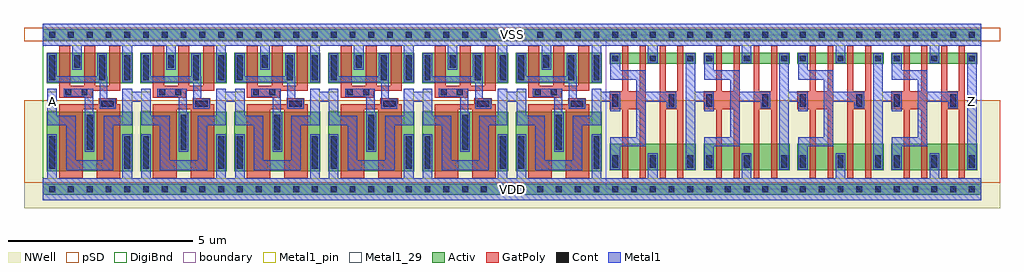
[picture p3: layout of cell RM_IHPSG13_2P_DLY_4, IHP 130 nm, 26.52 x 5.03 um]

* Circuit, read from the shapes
.subckt RM_IHPSG13_2P_DLY_4 A VDD VSS Z
XM1 VSS n1 n2 VSS sg13_lv_nmos w=0.83u l=0.3u m=3
XM2 VSS n3 n4 VSS sg13_lv_nmos w=0.83u l=0.3u m=3
XM3 VSS n5 n6 VSS sg13_lv_nmos w=0.83u l=0.3u m=3
XM4 VSS n7 n8 VSS sg13_lv_nmos w=0.83u l=0.3u m=3
XM5 VSS n9 n10 VSS sg13_lv_nmos w=0.83u l=0.3u m=3
XM6 VSS n11 n12 VSS sg13_lv_nmos w=0.83u l=0.3u m=3
XM7 n13 A n14 VSS sg13_lv_nmos w=0.3u l=0.16u
XM8 VSS A n13 VSS sg13_lv_nmos w=0.3u l=0.16u
XM9 n15 n14 VSS VSS sg13_lv_nmos w=0.3u l=0.16u
XM10 RSC_IHPSG13_CDLYX1_1/A n14 n15 VSS sg13_lv_nmos w=0.3u l=0.16u
XM11 n16 RSC_IHPSG13_CDLYX1_1/A n17 VSS sg13_lv_nmos w=0.3u l=0.16u
XM12 VSS RSC_IHPSG13_CDLYX1_1/A n16 VSS sg13_lv_nmos w=0.3u l=0.16u
XM13 n18 n17 VSS VSS sg13_lv_nmos w=0.3u l=0.16u
XM14 RSC_IHPSG13_CDLYX1_2/A n17 n18 VSS sg13_lv_nmos w=0.3u l=0.16u
XM15 n19 RSC_IHPSG13_CDLYX1_2/A n20 VSS sg13_lv_nmos w=0.3u l=0.16u
XM16 VSS RSC_IHPSG13_CDLYX1_2/A n19 VSS sg13_lv_nmos w=0.3u l=0.16u
XM17 n21 n20 VSS VSS sg13_lv_nmos w=0.3u l=0.16u
XM18 RSC_IHPSG13_CDLYX1_3/A n20 n21 VSS sg13_lv_nmos w=0.3u l=0.16u
XM19 n22 RSC_IHPSG13_CDLYX1_3/A n23 VSS sg13_lv_nmos w=0.3u l=0.16u
XM20 VSS RSC_IHPSG13_CDLYX1_3/A n22 VSS sg13_lv_nmos w=0.3u l=0.16u
XM21 n24 n23 VSS VSS sg13_lv_nmos w=0.3u l=0.16u
XM22 Z n23 n24 VSS sg13_lv_nmos w=0.3u l=0.16u
XM23 n1 n2 VDD VDD sg13_lv_pmos w=1.62u l=0.64u m=2
XM24 n3 n4 VDD VDD sg13_lv_pmos w=1.62u l=0.64u m=2
XM25 n5 n6 VDD VDD sg13_lv_pmos w=1.62u l=0.64u m=2
XM26 n7 n8 VDD VDD sg13_lv_pmos w=1.62u l=0.64u m=2
XM27 n9 n10 VDD VDD sg13_lv_pmos w=1.62u l=0.64u m=2
XM28 n11 n12 VDD VDD sg13_lv_pmos w=1.62u l=0.64u m=2
XM29 n25 A n14 VDD sg13_lv_pmos w=0.72u l=0.16u
XM30 VDD A n25 VDD sg13_lv_pmos w=0.72u l=0.16u
XM31 n26 n14 VDD VDD sg13_lv_pmos w=0.72u l=0.16u
XM32 RSC_IHPSG13_CDLYX1_1/A n14 n26 VDD sg13_lv_pmos w=0.72u l=0.16u
XM33 n27 RSC_IHPSG13_CDLYX1_1/A n17 VDD sg13_lv_pmos w=0.72u l=0.16u
XM34 VDD RSC_IHPSG13_CDLYX1_1/A n27 VDD sg13_lv_pmos w=0.72u l=0.16u
XM35 n28 n17 VDD VDD sg13_lv_pmos w=0.72u l=0.16u
XM36 RSC_IHPSG13_CDLYX1_2/A n17 n28 VDD sg13_lv_pmos w=0.72u l=0.16u
XM37 n29 RSC_IHPSG13_CDLYX1_2/A n20 VDD sg13_lv_pmos w=0.72u l=0.16u
XM38 VDD RSC_IHPSG13_CDLYX1_2/A n29 VDD sg13_lv_pmos w=0.72u l=0.16u
XM39 n30 n20 VDD VDD sg13_lv_pmos w=0.72u l=0.16u
XM40 RSC_IHPSG13_CDLYX1_3/A n20 n30 VDD sg13_lv_pmos w=0.72u l=0.16u
XM41 n31 RSC_IHPSG13_CDLYX1_3/A n23 VDD sg13_lv_pmos w=0.72u l=0.16u
XM42 VDD RSC_IHPSG13_CDLYX1_3/A n31 VDD sg13_lv_pmos w=0.72u l=0.16u
XM43 n32 n23 VDD VDD sg13_lv_pmos w=0.72u l=0.16u
XM44 Z n23 n32 VDD sg13_lv_pmos w=0.72u l=0.16u
.ends

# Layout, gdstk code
from math import pi, radians
import gdstk
lib = gdstk.Library(unit=1e-6, precision=1e-09)
def R(c, l, rs):  # rectangles x0, y0, x1, y1
    for r in rs: c.add(gdstk.rectangle(r[:2], r[2:], *l))
def A(c, l, x, y, w, h, nx, ny, dx, dy):  # array of equal rectangles
    R(c, l, [(x+i*dx, y+j*dy, x+i*dx+w, y+j*dy+h) for i in range(nx) for j in range(ny)])
def P(c, l, *ps):  # polygons
    for p in ps: c.add(gdstk.Polygon(p, *l))
Activ = (1, 0)
GatPoly = (5, 0)
Cont = (6, 0)
Metal1 = (8, 0)
Metal1_pin = (8, 2)
Metal1_29 = (8, 29)
pSD = (14, 0)
DigiBnd = (16, 0)
NWell = (31, 0)
boundary = (189, 4)

rsc_ihpsg13_cdlyx1 = lib.new_cell('RSC_IHPSG13_CDLYX1')
R(rsc_ihpsg13_cdlyx1, Activ, [(0,-0.15,2.55,0.15), (0.105,0.49,2.445,0.79), (0.105,2.97,2.445,3.69), (0,4.05,2.55,4.35)])
P(rsc_ihpsg13_cdlyx1, GatPoly, [(1.465,0.3),(1.465,3.9),(1.625,3.9),(1.625,2.025),(1.945,2.025),(1.945,3.9),(2.105,3.9),(2.105,0.3),(1.945,0.3),(1.945,1.545),(1.625,1.545),(1.625,0.3)],
  [(0.445,0.3),(0.445,1.545),(0.105,1.545),(0.105,2.025),(0.445,2.025),(0.445,3.9),(0.605,3.9),(0.605,2.025),(0.925,2.025),(0.925,3.9),(1.085,3.9),(1.085,0.3),(0.925,0.3),(0.925,1.545),(0.605,1.545),(0.605,0.3)])
A(rsc_ihpsg13_cdlyx1, Cont, 0.175, -0.08, 0.16, 0.16, 5, 2, 0.51, 4.2)
A(rsc_ihpsg13_cdlyx1, Cont, 0.175, 0.57, 0.16, 0.16, 3, 1, 1.02, 0)
A(rsc_ihpsg13_cdlyx1, Cont, 0.175, 3.28, 0.16, 0.34, 3, 1, 1.02, 0)
R(rsc_ihpsg13_cdlyx1, Cont, [(0.175,1.615,0.335,1.955), (1.705,1.615,1.865,1.955)])
R(rsc_ihpsg13_cdlyx1, Metal1, [(0,-0.3,2.55,0.3), (1.145,0.3,1.405,0.78), (2.165,0.51,2.425,3.67), (0.125,1.56,0.385,2.09)])
P(rsc_ihpsg13_cdlyx1, Metal1, [(0.125,0.51),(0.125,1.23),(0.825,1.23),(0.825,2.79),(0.125,2.79),(0.125,3.67),(0.385,3.67),(0.385,3.04),(1.085,3.04),(1.085,1.82),(1.655,1.82),(1.655,2.005),(1.915,2.005),(1.915,1.56),(1.085,1.56),(1.085,0.97),(0.385,0.97),(0.385,0.51)],
  [(1.145,3.23),(1.145,3.9),(0,3.9),(0,4.5),(2.55,4.5),(2.55,3.9),(1.405,3.9),(1.405,3.23)])
R(rsc_ihpsg13_cdlyx1, Metal1_pin, [(0,-0.3,2.55,0.3), (2.165,0.51,2.425,3.67), (0.125,1.56,0.385,2.09), (0,3.9,2.55,4.5)])
R(rsc_ihpsg13_cdlyx1, pSD, [(-0.51,-0.18,3.06,0.18), (-0.51,1.785,3.06,4.02)])
R(rsc_ihpsg13_cdlyx1, DigiBnd, [(0,-0.3,2.55,4.5)])
R(rsc_ihpsg13_cdlyx1, NWell, [(-0.51,1.785,3.06,4.725)])
R(rsc_ihpsg13_cdlyx1, boundary, [(0,0,2.55,4.2)])
rsc_ihpsg13_cdlyx1.add(gdstk.Label('VDD!', (0.51,4.2), layer=8, texttype=25))
rsc_ihpsg13_cdlyx1.add(gdstk.Label('A', (0.265,1.785), layer=8, texttype=25))
rsc_ihpsg13_cdlyx1.add(gdstk.Label('VSS!', (0.465,0), layer=8, texttype=25))
rsc_ihpsg13_cdlyx1.add(gdstk.Label('Z', (2.3,1.755), layer=8, texttype=25))

lvsres_db_0x04007e9a = lib.new_cell('lvsres_db_0x04007e9a')
R(lvsres_db_0x04007e9a, Metal1, [(-0.5,0,0.5,0.26)])
R(lvsres_db_0x04007e9a, Metal1_pin, [(-0.5,0,-0.3,0.26), (0.3,0,0.5,0.26)])
R(lvsres_db_0x04007e9a, Metal1_29, [(-0.3,0,0.3,0.26)])
lvsres_db_0x04007e9a.add(gdstk.Label('MINUS', (0.4,0.13), layer=63, texttype=0))
lvsres_db_0x04007e9a.add(gdstk.Label('PLUS', (-0.4,0.13), layer=63, texttype=0))

rsc_ihpsg13_cdlyx1_dummy = lib.new_cell('RSC_IHPSG13_CDLYX1_DUMMY')
R(rsc_ihpsg13_cdlyx1_dummy, Activ, [(0,-0.15,2.55,0.15), (0.105,0.49,2.445,1.32), (0.105,2.1,2.445,3.72), (0,4.05,2.55,4.35)])
P(rsc_ihpsg13_cdlyx1_dummy, GatPoly, [(0.445,0.3),(0.445,1.72),(1.34,1.72),(1.34,1.52),(2.105,1.52),(2.105,0.3),(1.805,0.3),(1.805,1.39),(1.425,1.39),(1.425,0.3),(1.125,0.3),(1.125,1.39),(0.745,1.39),(0.745,0.3)],
  [(1.525,1.73),(1.525,1.9),(0.445,1.9),(0.445,3.9),(1.085,3.9),(1.085,2.03),(1.465,2.03),(1.465,3.9),(2.105,3.9),(2.105,1.9),(2.005,1.9),(2.005,1.73)])
A(rsc_ihpsg13_cdlyx1_dummy, Cont, 0.175, -0.08, 0.16, 0.16, 5, 2, 0.51, 4.2)
R(rsc_ihpsg13_cdlyx1_dummy, Cont, [(0.175,0.56,0.335,1.24), (0.855,0.56,1.015,0.9), (1.535,0.56,1.695,1.24), (2.215,0.56,2.375,1.24), (0.615,1.49,0.775,1.65), (1.055,1.49,1.215,1.65), (1.595,1.8,1.935,1.96), (1.195,2.175,1.355,3.13), (0.175,2.76,0.335,3.65), (2.215,2.76,2.375,3.65)])
R(rsc_ihpsg13_cdlyx1_dummy, Metal1, [(0.125,1.47,0.385,2.465), (2.165,1.47,2.425,2.465), (0.125,2.205,0.895,2.465), (0.635,2.205,0.895,3.68), (1.655,2.205,1.915,3.68), (1.655,2.205,2.425,2.465), (0.635,3.42,1.915,3.68)])
P(rsc_ihpsg13_cdlyx1_dummy, Metal1, [(0.125,0.51),(0.125,1.29),(1.545,1.29),(1.545,2.01),(1.985,2.01),(1.985,1.75),(1.755,1.75),(1.755,1.13),(1.745,1.13),(1.745,0.51),(1.485,0.51),(1.485,1.13),(0.385,1.13),(0.385,0.51)],
  [(0.565,1.47),(0.565,1.69),(1.145,1.69),(1.145,3.18),(1.405,3.18),(1.405,2.125),(1.365,2.125),(1.365,1.47)],
  [(0.125,2.71),(0.125,3.9),(0,3.9),(0,4.5),(2.55,4.5),(2.55,3.9),(2.425,3.9),(2.425,2.71),(2.165,2.71),(2.165,3.9),(0.385,3.9),(0.385,2.71)],
  [(0,-0.3),(0,0.3),(0.805,0.3),(0.805,0.95),(1.065,0.95),(1.065,0.3),(2.165,0.3),(2.165,1.29),(2.425,1.29),(2.425,0.3),(2.55,0.3),(2.55,-0.3)])
R(rsc_ihpsg13_cdlyx1_dummy, Metal1_pin, [(0,-0.3,2.55,0.3), (2.165,1.47,2.425,2.465), (0.125,1.56,0.385,2.09), (0,3.9,2.55,4.5)])
R(rsc_ihpsg13_cdlyx1_dummy, pSD, [(-0.51,-0.18,3.06,0.18), (-0.51,1.785,3.06,4.02)])
R(rsc_ihpsg13_cdlyx1_dummy, DigiBnd, [(0,-0.3,2.55,4.5)])
R(rsc_ihpsg13_cdlyx1_dummy, NWell, [(-0.51,1.785,3.06,4.725)])
rsc_ihpsg13_cdlyx1_dummy.add(gdstk.Reference(lvsres_db_0x04007e9a, (1.305,3.68), rotation=pi))
rsc_ihpsg13_cdlyx1_dummy.add(gdstk.Label('VDD!', (0.84,4.2), layer=8, texttype=2))
rsc_ihpsg13_cdlyx1_dummy.add(gdstk.Label('VSS!', (1.155,0.005), layer=8, texttype=2))
rsc_ihpsg13_cdlyx1_dummy.add(gdstk.Label('A', (0.265,1.785), layer=8, texttype=25))
rsc_ihpsg13_cdlyx1_dummy.add(gdstk.Label('Z', (2.3,1.755), layer=8, texttype=25))

rm_ihpsg13_2p_dly_4 = lib.new_cell('RM_IHPSG13_2P_DLY_4')
A(rm_ihpsg13_2p_dly_4, Metal1, 2.425, 2.38, 0.25, 0.26, 9, 1, 2.55, 0)
R(rm_ihpsg13_2p_dly_4, Metal1_pin, [(0,-0.3,25.5,0.3), (0.125,2.11,0.385,2.64), (25.115,2.11,25.375,2.64), (0,3.9,25.5,4.5)])
rm_ihpsg13_2p_dly_4.add(gdstk.Reference(rsc_ihpsg13_cdlyx1, (15.3,4.2), x_reflection=True))
rm_ihpsg13_2p_dly_4.add(gdstk.Reference(rsc_ihpsg13_cdlyx1, (17.85,4.2), x_reflection=True))
rm_ihpsg13_2p_dly_4.add(gdstk.Reference(rsc_ihpsg13_cdlyx1, (20.4,4.2), x_reflection=True))
rm_ihpsg13_2p_dly_4.add(gdstk.Reference(rsc_ihpsg13_cdlyx1, (22.95,4.2), x_reflection=True))
rm_ihpsg13_2p_dly_4.add(gdstk.Reference(rsc_ihpsg13_cdlyx1_dummy, (0,4.2), x_reflection=True))
rm_ihpsg13_2p_dly_4.add(gdstk.Reference(rsc_ihpsg13_cdlyx1_dummy, (2.55,4.2), x_reflection=True))
rm_ihpsg13_2p_dly_4.add(gdstk.Reference(rsc_ihpsg13_cdlyx1_dummy, (5.1,4.2), x_reflection=True))
rm_ihpsg13_2p_dly_4.add(gdstk.Reference(rsc_ihpsg13_cdlyx1_dummy, (7.65,4.2), x_reflection=True))
rm_ihpsg13_2p_dly_4.add(gdstk.Reference(rsc_ihpsg13_cdlyx1_dummy, (10.2,4.2), x_reflection=True))
rm_ihpsg13_2p_dly_4.add(gdstk.Reference(rsc_ihpsg13_cdlyx1_dummy, (12.75,4.2), x_reflection=True))
rm_ihpsg13_2p_dly_4.add(gdstk.Label('VDD', (12.75,0), layer=8, texttype=25))
rm_ihpsg13_2p_dly_4.add(gdstk.Label('VSS', (12.75,4.2), layer=8, texttype=25))
rm_ihpsg13_2p_dly_4.add(gdstk.Label('A', (0.255,2.375), layer=8, texttype=25))
rm_ihpsg13_2p_dly_4.add(gdstk.Label('Z', (25.245,2.375), layer=8, texttype=25))

lib.write_gds('RM_IHPSG13_2P_DLY_4.gds')
